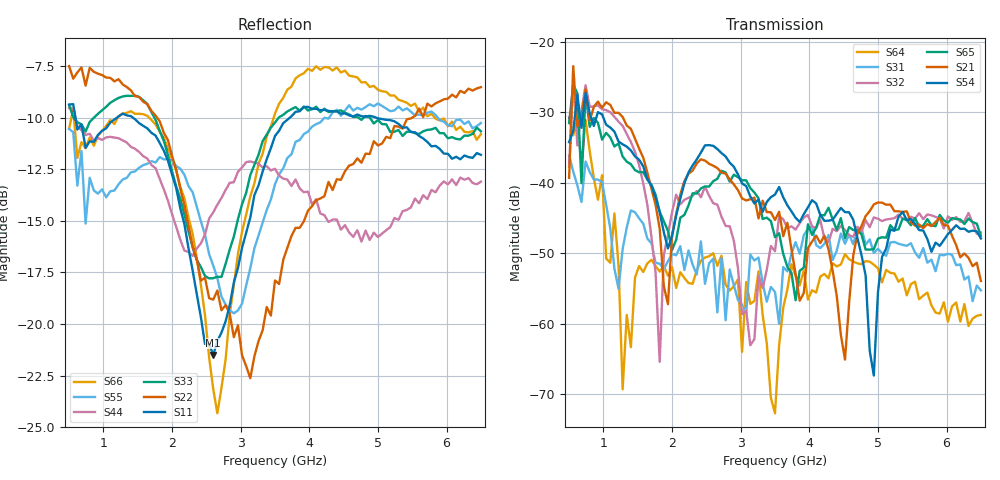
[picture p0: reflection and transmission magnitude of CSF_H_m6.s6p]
!Keysight Technologies,M9804A,MY58100912,A.14.10.03
!Date: Thursday, April 27, 2023 10:28:33
!Correction: S11(C  6-Port  )
!S12(C  6-Port  )
!S13(C  6-Port  )
!S14(C  6-Port  )
!S15(C  6-Port  )
!S16(C  6-Port  )
!S21(C  6-Port  )
!S22(C  6-Port  )
!S23(C  6-Port  )
!S24(C  6-Port  )
!S25(C  6-Port  )
!S26(C  6-Port  )
!S31(C  6-Port  )
!S32(C  6-Port  )
!S33(C  6-Port  )
!S34(C  6-Port  )
!S35(C  6-Port  )
!S36(C  6-Port  )
!S41(C  6-Port  )
!S42(C  6-Port  )
!S43(C  6-Port  )
!S44(C  6-Port  )
!S45(C  6-Port  )
!S46(C  6-Port  )
!S51(C  6-Port  )
!S52(C  6-Port  )
!S53(C  6-Port  )
!S54(C  6-Port  )
!S55(C  6-Port  )
!S56(C  6-Port  )
!S61(C  6-Port  )
!S62(C  6-Port  )
!S63(C  6-Port  )
!S64(C  6-Port  )
!S65(C  6-Port  )
!S66(C  6-Port  )
!S6P File: Measurement: :
# Hz S  RI  R 50
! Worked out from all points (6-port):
!   101 points, 500 MHz to 6.5 GHz, reference 50 ohm
!   strongest paths, dB at 500 MHz, 2 GHz, 3.5 GHz, 5 GHz, 6.5 GHz:
!     S54: -34.2, -47.6, -41.7, -55.6, -47.9
!     S21: -39.3, -47.4, -45.3, -42.8, -53.9
!     S65: -31.5, -49.5, -47.7, -47.9, -47.5
!     S32: -37.7, -44.2, -49.7, -45.1, -47.1
!     S31: -36.1, -50.1, -55.5, -49.4, -55.3
!     S64: -30.7, -52.0, -72.7, -52.2, -58.8
!   lowest |S11| = -21.5 dB at 2.6 GHz (marker M1), VSWR 1.18, Z = 42.5 + j2.12 ohm
!   |S11| at or under -10 dB: 592.3 MHz to 1.194 GHz (601.4 MHz wide, 67.3 % of centre); 1.433 GHz to 3.713 GHz (2.281 GHz wide, 88.6 % of centre); 4.978 GHz to end of sweep
